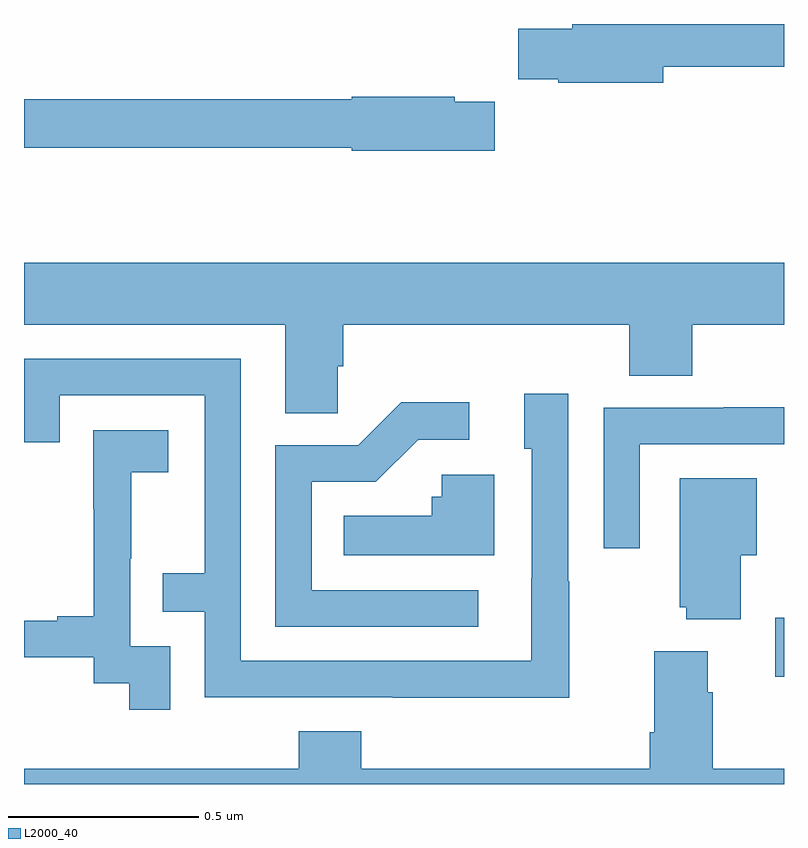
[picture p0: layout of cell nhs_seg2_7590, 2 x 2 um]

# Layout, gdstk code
import gdstk
lib = gdstk.Library(unit=1e-6, precision=1e-09)
def R(c, l, rs):  # rectangles x0, y0, x1, y1
    for r in rs: c.add(gdstk.rectangle(r[:2], r[2:], *l))
def P(c, l, *ps):  # polygons
    for p in ps: c.add(gdstk.Polygon(p, *l))
L2000_40 = (2000, 40)

nhs_seg2_7590 = lib.new_cell('nhs_seg2_7590')
R(nhs_seg2_7590, L2000_40, [(207.977,608.082,208,608.238)])
P(nhs_seg2_7590, L2000_40, [(207.682,609.688),(208,609.688),(208,609.8),(207.443,609.8),(207.443,609.788),(207.301,609.788),(207.301,609.654),(207.406,609.654),(207.406,609.646),(207.682,609.646)],
  [(207.239,609.596),(207.134,609.596),(207.134,609.608),(206.862,609.608),(206.862,609.602),(206,609.602),(206,609.474),(206.862,609.474),(206.862,609.466),(207.239,609.466)],
  [(206.826,608.899),(206.84,608.899),(206.84,609.008),(207.593,609.008),(207.593,608.875),(207.758,608.875),(207.758,609.008),(208,609.008),(208,609.172),(206,609.172),(206,609.008),(206.687,609.008),(206.687,608.776),(206.826,608.776)],
  [(207.435,608.333),(207.432,608.333),(207.432,608.827),(207.317,608.827),(207.317,608.682),(207.336,608.682),(207.336,608.342),(207.335,608.342),(207.335,608.124),(206.571,608.124),(206.571,608.919),(206,608.919),(206,608.7),(206.094,608.7),(206.094,608.823),(206.475,608.823),(206.475,608.354),(206.365,608.354),(206.365,608.253),(206.475,608.253),(206.475,608.028),(206.971,608.028),(206.971,608.027),(207.435,608.027)],
  [(207.196,608.31),(206.757,608.31),(206.757,608.595),(206.926,608.595),(207.037,608.706),(207.172,608.706),(207.172,608.804),(206.993,608.804),(206.88,608.691),(206.661,608.691),(206.661,608.214),(207.196,608.214)],
  [(207.621,608.694),(208,608.694),(208,608.792),(207.841,608.792),(207.841,608.79),(207.525,608.79),(207.525,608.421),(207.621,608.421)],
  [(206.385,608.163),(206.28,608.163),(206.28,608.393),(206.282,608.393),(206.282,608.621),(206.38,608.621),(206.38,608.731),(206.182,608.731),(206.182,608.525),(206.183,608.525),(206.183,608.242),(206.087,608.242),(206.087,608.229),(206,608.229),(206,608.133),(206.184,608.133),(206.184,608.065),(206.277,608.065),(206.277,607.995),(206.385,607.995)],
  [(207.238,608.614),(207.099,608.614),(207.099,608.556),(207.073,608.556),(207.073,608.506),(206.842,608.506),(206.842,608.402),(207.238,608.402)],
  [(207.886,608.402),(207.928,608.402),(207.928,608.605),(207.725,608.605),(207.725,608.265),(207.743,608.265),(207.743,608.234),(207.886,608.234)],
  [(208,607.84),(207.812,607.84),(207.812,608.042),(207.799,608.042),(207.799,608.149),(207.659,608.149),(207.659,607.936),(207.647,607.936),(207.647,607.84),(206.888,607.84),(206.888,607.939),(206.723,607.939),(206.723,607.84),(206,607.84),(206,607.8),(208,607.8)])

lib.write_gds('nhs_seg2_7590.gds')
